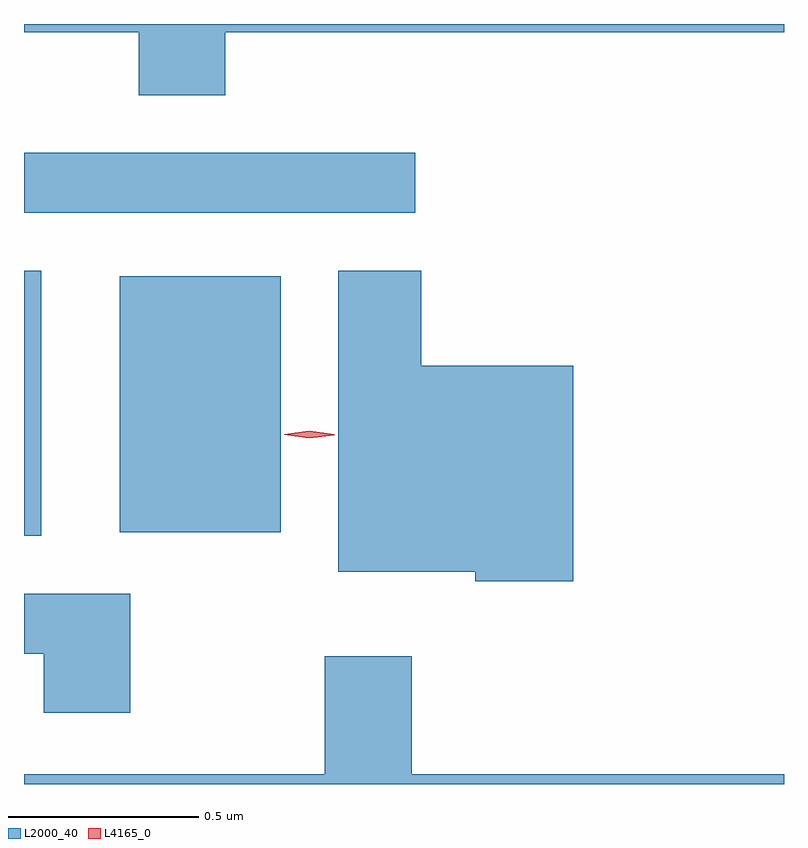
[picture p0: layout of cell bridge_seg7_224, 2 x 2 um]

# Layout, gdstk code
import gdstk
lib = gdstk.Library(unit=1e-6, precision=1e-09)
def R(c, l, rs):  # rectangles x0, y0, x1, y1
    for r in rs: c.add(gdstk.rectangle(r[:2], r[2:], *l))
def P(c, l, *ps):  # polygons
    for p in ps: c.add(gdstk.Polygon(p, *l))
L2000_40 = (2000, 40)
L4165_0 = (4165, 0)

bridge_seg7_224 = lib.new_cell('bridge_seg7_224')
R(bridge_seg7_224, L2000_40, [(1551.629,1728.531,1551.674,1729.229), (1551.881,1728.541,1552.304,1729.214), (1551.629,1729.381,1552.658,1729.539)])
P(bridge_seg7_224, L2000_40, [(1552.159,1729.856),(1553.629,1729.856),(1553.629,1729.878),(1551.629,1729.878),(1551.629,1729.856),(1551.931,1729.856),(1551.931,1729.691),(1552.159,1729.691)],
  [(1553.074,1728.979),(1552.674,1728.979),(1552.674,1729.229),(1552.456,1729.229),(1552.456,1728.436),(1552.816,1728.436),(1552.816,1728.411),(1553.074,1728.411)],
  [(1551.909,1728.379),(1551.629,1728.379),(1551.629,1728.221),(1551.681,1728.221),(1551.681,1728.066),(1551.909,1728.066)],
  [(1553.629,1727.904),(1552.649,1727.904),(1552.649,1728.214),(1552.421,1728.214),(1552.421,1727.904),(1551.629,1727.904),(1551.629,1727.878),(1553.629,1727.878)])
P(bridge_seg7_224, L4165_0, [(1552.38,1728.788),(1552.314,1728.797),(1552.314,1728.798),(1552.314,1728.798),(1552.38,1728.807),(1552.446,1728.798),(1552.446,1728.797),(1552.446,1728.796)])

lib.write_gds('bridge_seg7_224.gds')
